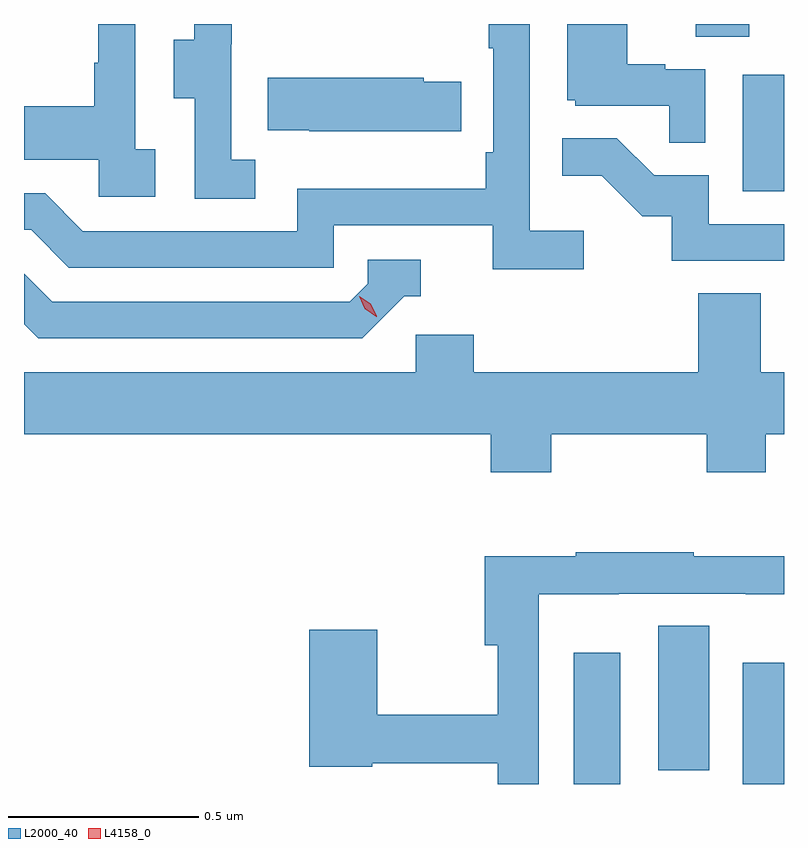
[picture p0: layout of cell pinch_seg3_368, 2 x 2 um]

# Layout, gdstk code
import gdstk
lib = gdstk.Library(unit=1e-6, precision=1e-09)
def R(c, l, rs):  # rectangles x0, y0, x1, y1
    for r in rs: c.add(gdstk.rectangle(r[:2], r[2:], *l))
def P(c, l, *ps):  # polygons
    for p in ps: c.add(gdstk.Polygon(p, *l))
L2000_40 = (2000, 40)
L4158_0 = (4158, 0)

pinch_seg3_368 = lib.new_cell('pinch_seg3_368')
R(pinch_seg3_368, L2000_40, [(1014.068,694.668,1014.19,695.014), (1014.512,694.668,1014.621,694.987), (1014.29,694.704,1014.424,695.084), (1014.512,696.228,1014.621,696.535), (1014.389,696.634,1014.529,696.668)])
P(pinch_seg3_368, L2000_40, [(1012.966,696.338),(1012.914,696.338),(1012.914,696.668),(1012.816,696.668),(1012.816,696.566),(1012.806,696.566),(1012.806,696.451),(1012.621,696.451),(1012.621,696.311),(1012.818,696.311),(1012.818,696.213),(1012.966,696.213)],
  [(1014.094,696.124),(1013.952,696.124),(1013.952,696.668),(1013.844,696.668),(1013.844,696.604),(1013.856,696.604),(1013.856,696.331),(1013.836,696.331),(1013.836,696.235),(1013.34,696.235),(1013.34,696.123),(1012.776,696.123),(1012.677,696.222),(1012.621,696.222),(1012.621,696.126),(1012.64,696.126),(1012.739,696.027),(1013.436,696.027),(1013.436,696.138),(1013.855,696.138),(1013.855,696.022),(1014.094,696.022)],
  [(1014.414,696.549),(1014.308,696.549),(1014.308,696.562),(1014.208,696.562),(1014.208,696.668),(1014.05,696.668),(1014.05,696.468),(1014.072,696.468),(1014.072,696.453),(1014.319,696.453),(1014.319,696.355),(1014.414,696.355)],
  [(1013.23,696.311),(1013.166,696.311),(1013.166,696.615),(1013.168,696.615),(1013.168,696.668),(1013.069,696.668),(1013.069,696.627),(1013.015,696.627),(1013.015,696.472),(1013.07,696.472),(1013.07,696.208),(1013.23,696.208)],
  [(1013.771,696.516),(1013.673,696.516),(1013.673,696.526),(1013.263,696.526),(1013.263,696.389),(1013.371,696.389),(1013.371,696.386),(1013.771,696.386)],
  [(1014.621,696.141),(1014.423,696.141),(1014.423,696.27),(1014.279,696.27),(1014.181,696.368),(1014.037,696.368),(1014.037,696.269),(1014.141,696.269),(1014.248,696.162),(1014.325,696.162),(1014.325,696.045),(1014.621,696.045)],
  [(1013.622,695.952),(1013.665,695.952),(1013.665,696.048),(1013.526,696.048),(1013.526,695.985),(1013.478,695.937),(1012.695,695.937),(1012.621,696.011),(1012.621,695.878),(1012.658,695.841),(1013.511,695.841)],
  [(1014.009,695.588),(1014.418,695.588),(1014.418,695.489),(1014.573,695.489),(1014.573,695.588),(1014.621,695.588),(1014.621,695.752),(1014.56,695.752),(1014.56,695.96),(1014.395,695.96),(1014.395,695.752),(1013.804,695.752),(1013.804,695.85),(1013.652,695.85),(1013.652,695.752),(1012.621,695.752),(1012.621,695.588),(1013.849,695.588),(1013.849,695.489),(1014.009,695.489)],
  [(1013.976,695.168),(1014.186,695.168),(1014.186,695.169),(1014.52,695.169),(1014.52,695.168),(1014.621,695.168),(1014.621,695.268),(1014.383,695.268),(1014.383,695.278),(1014.073,695.278),(1014.073,695.268),(1013.834,695.268),(1013.834,695.033),(1013.868,695.033),(1013.868,694.85),(1013.55,694.85),(1013.55,695.074),(1013.372,695.074),(1013.372,694.714),(1013.538,694.714),(1013.538,694.722),(1013.868,694.722),(1013.868,694.668),(1013.976,694.668)])
P(pinch_seg3_368, L4158_0, [(1013.548,695.898),(1013.518,695.919),(1013.503,695.951),(1013.503,695.952),(1013.503,695.952),(1013.533,695.932),(1013.549,695.899),(1013.549,695.898)])

lib.write_gds('pinch_seg3_368.gds')
